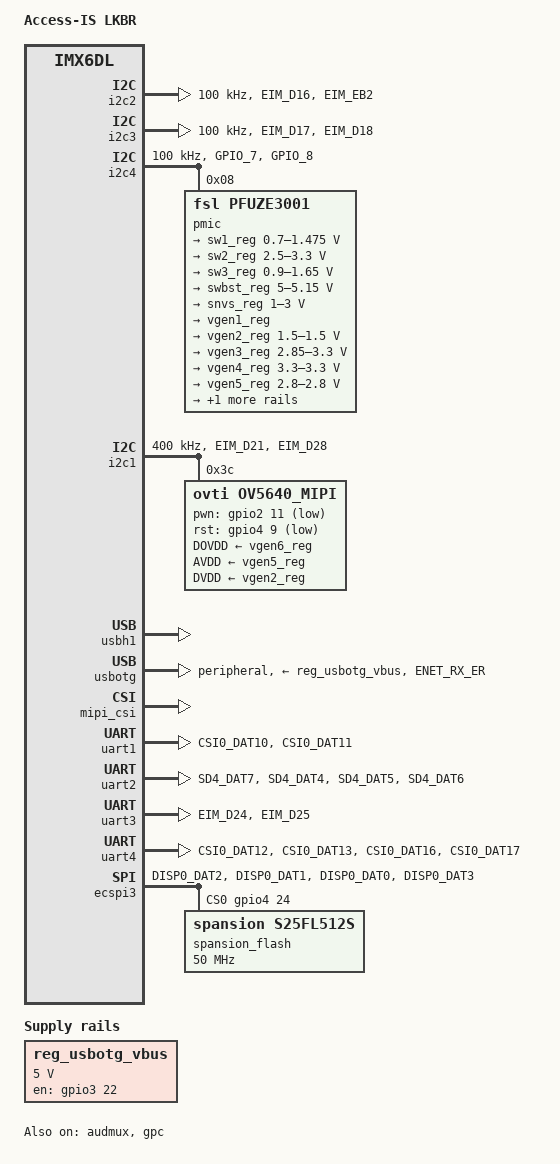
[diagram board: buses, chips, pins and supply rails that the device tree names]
/*
 * Copyright (C) 2015 Access-IS
 * Based on work by Solid Run & Russell King
 */
/dts-v1/;

#include "imx6dl.dtsi"

/ 

{

 	model = "Access-IS LKBR";
        compatible = "Access-IS, swallow", "fsl,imx6dl";


	chosen {
		bootargs = "quiet console=ttymxc0,115200";
	};

	aliases {
		mxcfb0 = &mxcfb1;
	};

	regulators {
		compatible = "simple-bus";


		reg_usbotg_vbus: usb-otg-vbus {
			compatible = "regulator-fixed";
			enable-active-high;
			gpio = <&gpio3 22 0>;
			pinctrl-names = "default";
			pinctrl-0 = <&pinctrl_swallow_usbotg_vbus>;
			regulator-name = "usb_otg_vbus";
			regulator-min-microvolt = <5000000>;
			regulator-max-microvolt = <5000000>;
		};


	};


	mxcfb1: fb@0 {
		compatible = "fsl,mxc_sdc_fb";
		disp_dev = "lcd";
		interface_pix_fmt = "RGB24";
		mode_str ="ACCESS43";
		default_bpp = <32>;
		int_clk = <0>;
		late_init = <0>;
		status = "okay";
	};

	lcd: lcd@0 {
		compatible = "fsl,lcd";
		ipu_id = <0>;
		disp_id = <1>;
		default_ifmt = "RGB24";
		pinctrl-names = "default";
		pinctrl-0 = <&pinctrl_ipu1_1>;
		status = "okay";
	};

	v4l2_cap_0 {
		compatible = "fsl,imx6q-v4l2-capture";
		ipu_id = <0>;
		csi_id = <1>;
		mclk_source = <0>;
		mipi_camera = <1>;
		default_input = <0>;
		status = "okay";
	};
};


&i2c2 {
	clock-frequency = <100000>;
	pinctrl-names = "default";
	pinctrl-0 = <&pinctrl_swallow_i2c2>;
	status = "okay";
};

&i2c3 {
	clock-frequency = <100000>;
	pinctrl-names = "default";
	pinctrl-0 = <&pinctrl_swallow_i2c3>;
	status = "okay";
};

&i2c4 {
	clock-frequency = <100000>;
	pinctrl-names = "default";
	pinctrl-0 = <&pinctrl_swallow_i2c4>;
	status = "okay";

	pmic: pfuze3001@08 {
		compatible = "fsl,pfuze3001";
		reg = <0x08>;

		regulators {

			sw1_reg: sw1 {
				regulator-min-microvolt = <700000>;
				regulator-max-microvolt = <1475000>;
				regulator-always-on;
				regulator-ramp-delay = <6250>;
			};

			sw2_reg: sw2 {
				regulator-min-microvolt = <2500000>;
				regulator-max-microvolt = <3300000>;
				regulator-boot-on;
				regulator-always-on;
			};

			sw3_reg: sw3 {
				regulator-min-microvolt = <900000>;
				regulator-max-microvolt = <1650000>;
				regulator-boot-on;
				regulator-always-on;
			};

			swbst_reg: swbst {
				regulator-min-microvolt = <5000000>;
				regulator-max-microvolt = <5150000>;
			};

			snvs_reg: vsnvs {
				regulator-min-microvolt = <1000000>;
				regulator-max-microvolt = <3000000>;
				regulator-boot-on;
				regulator-always-on;
			};

			vref_reg: vrefddr {
				regulator-boot-on;
				regulator-always-on;
			};

			vgen1_reg: vldo1 {
                regulator-name = "vldo1";
				regulator-always-off;
			};

			vgen2_reg: vldo2 {
				regulator-min-microvolt = <1500000>;
				regulator-max-microvolt = <1500001>;
				regulator-always-on;
			};

			vgen3_reg: vccsd {
				regulator-min-microvolt = <2850000>;
				regulator-max-microvolt = <3300000>;
				regulator-boot-on;
				regulator-always-on;
			};

			vgen4_reg: v33 {
				regulator-min-microvolt = <3300000>;
				regulator-max-microvolt = <3300001>;
				regulator-always-on;
			};

			vgen5_reg: vldo3 {
				regulator-min-microvolt = <2800000>;
				regulator-max-microvolt = <2800001>;
				regulator-always-on;
			};

			vgen6_reg: vldo4 {
				regulator-min-microvolt = <1800000>;
				regulator-max-microvolt = <1800001>;
				regulator-always-on;
			};
		};
	};
};

&audmux {
	status = "okay";
};


&i2c1 {
	clock-frequency = <400000>;
	pinctrl-names = "default";
	pinctrl-0 = <&pinctrl_swallow_i2c1>;
	status = "okay";

	/* camera, OV5640*/
	ov5640_mipi: ov5640_mipi@3c {
		compatible = "ovti,ov5640_mipi";
		reg = <0x3c>;
		clocks = <&clks 200>;
				/*169 = CCM_CLKO1   &&  200 = CCM_CLKO2  &&  201 = CCM_CLKO   &&  209 = video_27m  see Documentation/devicetree/bindings/clock/imx6q-clock.txt*/
		clock-names  = "csi_mclk";
		DOVDD-supply = <&vgen6_reg>;
        AVDD-supply = <&vgen5_reg>;
        DVDD-supply = <&vgen2_reg>;
        pwn-gpios = <&gpio2 11 1>;
	rst-gpios = <&gpio4 9 1 >;
        ipu_id = <0>;
        csi_id = <1>;
        mclk = <24000000>;
        mclk_source = <0>;
        pinctrl-names = "default";
        pinctrl-0 = <&pinctrl_swallow_mipi>;
        extended-buffer;
	};
};

&iomuxc {
	pinctrl-names = "default";
	pinctrl-0 = <&pinctrl_hog>;
	swallow {
		pinctrl_hog: hoggrp {
			fsl,pins = <
			MX6QDL_PAD_GPIO_0__GPIO1_IO00    0x400130b1	
			>;
		};

		pinctrl_swallow_i2c1: swallow-i2c1 {
			fsl,pins = <
                MX6QDL_PAD_EIM_D21__I2C1_SCL               0x4000a0b1
                MX6QDL_PAD_EIM_D28__I2C1_SDA               0x4000a0b1
			>;
		};

		pinctrl_swallow_i2c2: swallow-i2c2 {
			fsl,pins = <
                MX6QDL_PAD_EIM_D16__I2C2_SDA  0x40000839  // 0x0001B0B0
                MX6QDL_PAD_EIM_EB2__I2C2_SCL  0x40000839  // 0x0001B0B0
			>;
		};

		pinctrl_swallow_i2c3: swallow-i2c3 {
			fsl,pins = <
				MX6QDL_PAD_EIM_D17__I2C3_SCL 0x40000838 
				MX6QDL_PAD_EIM_D18__I2C3_SDA 0x40000838
			>;
		};

		pinctrl_swallow_i2c4: swallow-i2c4 {
			fsl,pins = <
                MX6QDL_PAD_GPIO_7__I2C4_SCL  0x40000838
                MX6QDL_PAD_GPIO_8__I2C4_SDA  0x40000838
			>;
		};

	

		pinctrl_swallow_usbotg_id: swallow-usbotg-id {
			fsl,pins = <MX6QDL_PAD_ENET_RX_ER__USB_OTG_ID 0x1B059>; 
		};

		pinctrl_swallow_usbotg_vbus: swallow-usbotg-vbus {
			fsl,pins = <MX6QDL_PAD_EIM_D22__GPIO3_IO22 0x1b0b0>;
		};



		pinctrl_swallow_mipi: swallow_mipi {
			fsl,pins = <
			//	MX6QDL_PAD_SD4_DAT2__GPIO2_IO11 	0x17059     // CAM_PWDN
				MX6QDL_PAD_NANDF_CS2__CCM_CLKO2 	0x1B059
                MX6QDL_PAD_NANDF_CS1__GPIO6_IO14	0x1B0B0     // CAM_PWR_EN
                MX6QDL_PAD_NANDF_CS3__GPIO6_IO16    0x1B0B0     // CAM_STROBE
            >;
		};


	};

	ipu1 {
		pinctrl_ipu1_1: ipu1grp-1 {
			fsl,pins = <
				MX6QDL_PAD_EIM_A16__IPU1_DI1_DISP_CLK      0x10
				MX6QDL_PAD_EIM_DA10__IPU1_DI1_PIN15        0x10
				MX6QDL_PAD_EIM_DA11__IPU1_DI1_PIN02        0x10
				MX6QDL_PAD_EIM_DA12__IPU1_DI1_PIN03        0x10
				/*MX6QDL_PAD_EIM_DA15__IPU1_DI1_PIN04        0x80000000*/
				MX6QDL_PAD_EIM_DA14__IPU1_DI1_D1_CS	   0x10
				MX6QDL_PAD_EIM_DA13__IPU1_DI1_D0_CS        0x10

				MX6QDL_PAD_EIM_DA9__IPU1_DISP1_DATA00  	   0x10
				MX6QDL_PAD_EIM_DA8__IPU1_DISP1_DATA01      0x10
				MX6QDL_PAD_EIM_DA7__IPU1_DISP1_DATA02      0x10
				MX6QDL_PAD_EIM_DA6__IPU1_DISP1_DATA03      0x10
				MX6QDL_PAD_EIM_DA5__IPU1_DISP1_DATA04      0x10
				MX6QDL_PAD_EIM_DA4__IPU1_DISP1_DATA05      0x10
				MX6QDL_PAD_EIM_DA3__IPU1_DISP1_DATA06      0x10
				MX6QDL_PAD_EIM_DA2__IPU1_DISP1_DATA07      0x10

				MX6QDL_PAD_EIM_DA1__IPU1_DISP1_DATA08      0x10
				MX6QDL_PAD_EIM_DA0__IPU1_DISP1_DATA09      0x10
				MX6QDL_PAD_EIM_EB1__IPU1_DISP1_DATA10      0x10
				MX6QDL_PAD_EIM_EB0__IPU1_DISP1_DATA11      0x10
				MX6QDL_PAD_EIM_A17__IPU1_DISP1_DATA12      0x10
				MX6QDL_PAD_EIM_A18__IPU1_DISP1_DATA13      0x10
				MX6QDL_PAD_EIM_A19__IPU1_DISP1_DATA14      0x10
				MX6QDL_PAD_EIM_A20__IPU1_DISP1_DATA15      0x10

				MX6QDL_PAD_EIM_A21__IPU1_DISP1_DATA16      0x10
				MX6QDL_PAD_EIM_A22__IPU1_DISP1_DATA17      0x10
				MX6QDL_PAD_EIM_A23__IPU1_DISP1_DATA18      0x10
				MX6QDL_PAD_EIM_A24__IPU1_DISP1_DATA19      0x10
				MX6QDL_PAD_EIM_D31__IPU1_DISP1_DATA20      0x10
				MX6QDL_PAD_EIM_D30__IPU1_DISP1_DATA21      0x10
				MX6QDL_PAD_EIM_D26__IPU1_DISP1_DATA22      0x10
				MX6QDL_PAD_EIM_D27__IPU1_DISP1_DATA23      0x10
			>;
		};
	};

	swallow {
		pinctrl_swallow_uart1: swallow-uart1 {
			fsl,pins = <
				MX6QDL_PAD_CSI0_DAT10__UART1_TX_DATA	0x1b0b1
				MX6QDL_PAD_CSI0_DAT11__UART1_RX_DATA	0x1b0b1
			>;
		};

		pinctrl_swallow_uart2: swallow-uart2 {
			fsl,pins = <
				MX6QDL_PAD_SD4_DAT7__UART2_TX_DATA	0x1b0b1
				MX6QDL_PAD_SD4_DAT4__UART2_RX_DATA	0x1b0b1
				MX6QDL_PAD_SD4_DAT5__UART2_RTS_B    0x1b0b1 /*RTS*/
				MX6QDL_PAD_SD4_DAT6__UART2_CTS_B    0x1b0b1 /*CTS*/
//				MX6QDL_PAD_SD4_DAT0__GPIO2_IO08         0x1b0b1 /*DSR*/
//				MX6QDL_PAD_SD4_DAT3__GPIO2_IO11         0x1b0b1 /*DTR*/
			>;
		};

		pinctrl_swallow_uart3: swallow-uart3 {
			fsl,pins = <
				MX6QDL_PAD_EIM_D24__UART3_TX_DATA	0x1b0b1
				MX6QDL_PAD_EIM_D25__UART3_RX_DATA	0x1b0b1
				/*MX6QDL_PAD_SD4_DAT5__UART2_RTS_B        0x1b0b1
				MX6QDL_PAD_SD4_DAT6__UART2_CTS_B        0x1b0b1
				MX6QDL_PAD_SD4_DAT0__GPIO2_IO08         0x1b0b1 /*DSR*/
			/*	MX6QDL_PAD_SD4_DAT3__GPIO2_IO11         0x1b0b1 /*DTR*/
			>;
		};

		pinctrl_swallow_uart4: swallow-uart4 {
			fsl,pins = <
				MX6QDL_PAD_CSI0_DAT12__UART4_TX_DATA 0x1b0b1
				MX6QDL_PAD_CSI0_DAT13__UART4_RX_DATA 0x1b0b1
				MX6QDL_PAD_CSI0_DAT16__UART4_RTS_B 0x1b0b1
				MX6QDL_PAD_CSI0_DAT17__UART4_CTS_B 0x1b0b1
			>;
		};

		pinctrl_swallow_ecspi3_1: ecspi3grp-1 {
			fsl,pins = <
				MX6QDL_PAD_DISP0_DAT2__ECSPI3_MISO	0x1b0b1
				MX6QDL_PAD_DISP0_DAT1__ECSPI3_MOSI	0x1b0b1
				MX6QDL_PAD_DISP0_DAT0__ECSPI3_SCLK	0x1b0b1
				MX6QDL_PAD_DISP0_DAT3__GPIO4_IO24	0x1b0b1
			>;
		};
	};

};

&usbh1 {
	disable-over-current;
//	vbus-supply = <&reg_usbh1_vbus>;
	status = "okay";
};

&usbotg {
	disable-over-current;
	pinctrl-names = "default";
	pinctrl-0 = <&pinctrl_swallow_usbotg_id>;
	vbus-supply = <&reg_usbotg_vbus>;
	dr_mode = "peripheral";
	status = "okay";
};


&gpc {
	fsl,cpu_pupscr_sw2iso = <0xf>;
	fsl,cpu_pupscr_sw = <0xf>;
	fsl,cpu_pdnscr_iso2sw = <0x1>;
	fsl,cpu_pdnscr_iso = <0x1>;
	status = "okay" ;
};

&mipi_csi {
	ipu_id = <0>;
	csi_id = <1>;
	v_channel = <1>;
	lanes = <2>;
	mipi_dphy_clk = <0x14>;
	status = "okay";
};

&uart1 {
	pinctrl-names = "default";
	pinctrl-0 = <&pinctrl_swallow_uart1>;
	fsl;
	status = "okay";
};

&uart2 {
	pinctrl-names = "default";
	pinctrl-0 = <&pinctrl_swallow_uart2>;
	fsl,uart-has-rtscts;
	status = "okay";
};

&uart3 {
	pinctrl-names = "default";
	pinctrl-0 = <&pinctrl_swallow_uart3>;
	fsl,uart-has-rtscts;
    fsl,uart-has-dsrdtr;
	status = "okay";
};

&uart4 {
	pinctrl-names = "default";
	pinctrl-0 = <&pinctrl_swallow_uart4>;
	fsl,uart-has-rtscts;
	status = "okay";
};

&ecspi3 {
	fsl,spi-num-chipselects = <1>;
	cs-gpios = <&gpio4 24 0>,<0>;
	pinctrl-names = "default";
	pinctrl-0 = <&pinctrl_swallow_ecspi3_1>;
	status = "okay";

	spansion_flash: s25fl512s@0x00 {
		compatible = "spansion,s25fl512s", "jedec,spi-nor";
		spi-max-frequency = <50000000>;
		reg = <0>;
		#address-cells = <0x1>;
		#size-cells = <0x1>;

		uboot@0 {
			label = "uboot";
			reg = <0x0 0xC0000>;
		};
		ubenv@C0000 {
                        label = "uboot-env";
                        reg = <0xC0000 0x40000>;
                };
        dtb@100000 {
			label = "dtb";
			reg = <0x100000 0x40000>;
		};
		kernel@140000 {
			label = "kernel";
			reg = <0x140000 0xA00000>;
		};
	
		rootfs@B40000 {
			label = "rootfs";
			reg = <0xB40000 0x34C0000>;
		};
	};
	
};


